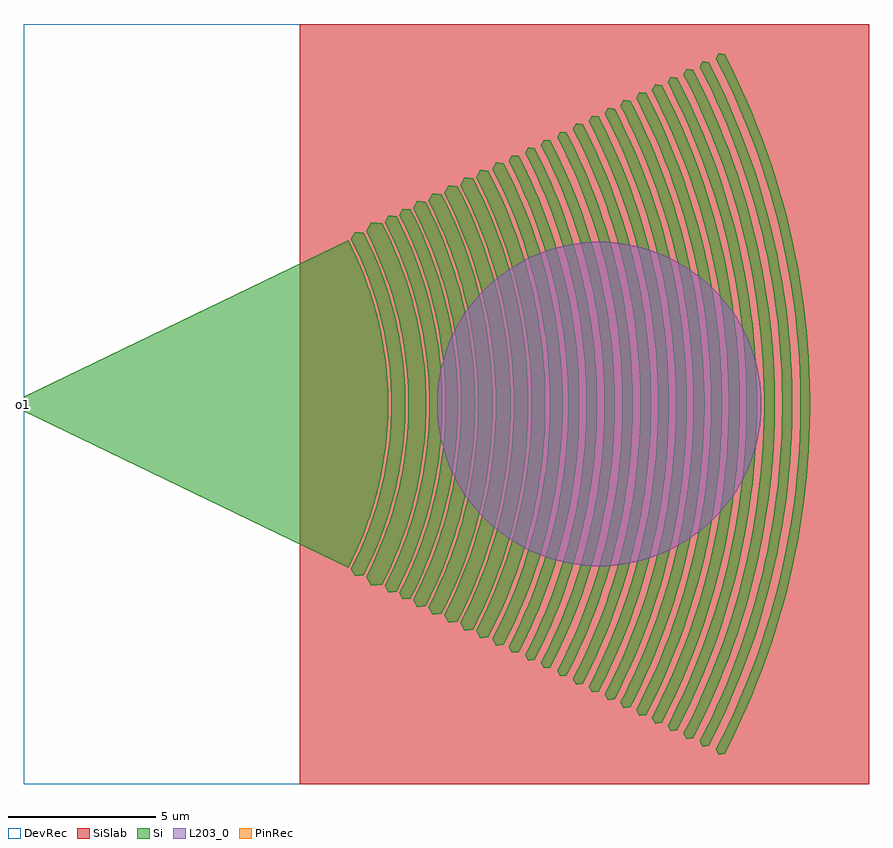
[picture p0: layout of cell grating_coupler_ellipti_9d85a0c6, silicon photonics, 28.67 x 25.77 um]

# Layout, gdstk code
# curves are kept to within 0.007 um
import gdstk
lib = gdstk.Library(unit=1e-6, precision=1e-09)
def R(c, l, rs):  # rectangles x0, y0, x1, y1
    for r in rs: c.add(gdstk.rectangle(r[:2], r[2:], *l))
def P(c, l, *ps):  # polygons
    for p in ps: c.add(gdstk.Polygon(p, *l))
Si = (1, 0)
PinRec = (1, 10)
SiSlab = (2, 0)
DevRec = (68, 0)
L203_0 = (203, 0)

circle_layerte_radius5p5 = lib.new_cell('circle_layerTE_radius5p5')
P(circle_layerte_radius5p5, L203_0, [(5.5,0),(5.495,0.24),(5.453,0.718),(5.37,1.19),(5.245,1.654),(5.081,2.105),(4.879,2.54),(4.639,2.955),(4.505,3.155),(4.213,3.535),(3.889,3.889),(3.535,4.213),(3.155,4.505),(2.955,4.639),(2.54,4.879),(2.105,5.081),(1.654,5.245),(1.19,5.37),(0.718,5.453),(0.24,5.495),(0,5.5),(-0.24,5.495),(-0.718,5.453),(-1.19,5.37),(-1.654,5.245),(-2.105,5.081),(-2.54,4.879),(-2.955,4.639),(-3.155,4.505),(-3.535,4.213),(-3.889,3.889),(-4.213,3.535),(-4.505,3.155),(-4.639,2.955),(-4.879,2.54),(-5.081,2.105),(-5.245,1.654),(-5.37,1.19),(-5.453,0.718),(-5.495,0.24),(-5.5,0),(-5.495,-0.24),(-5.453,-0.718),(-5.37,-1.19),(-5.245,-1.654),(-5.081,-2.105),(-4.879,-2.54),(-4.639,-2.955),(-4.505,-3.155),(-4.213,-3.535),(-3.889,-3.889),(-3.535,-4.213),(-3.155,-4.505),(-2.955,-4.639),(-2.54,-4.879),(-2.105,-5.081),(-1.654,-5.245),(-1.19,-5.37),(-0.718,-5.453),(-0.24,-5.495),(0,-5.5),(0.24,-5.495),(0.718,-5.453),(1.19,-5.37),(1.654,-5.245),(2.105,-5.081),(2.54,-4.879),(2.955,-4.639),(3.155,-4.505),(3.535,-4.213),(3.889,-3.889),(4.213,-3.535),(4.505,-3.155),(4.639,-2.955),(4.879,-2.54),(5.081,-2.105),(5.245,-1.654),(5.37,-1.19),(5.453,-0.718),(5.495,-0.24)])

grating_coupler_ellipti_ = lib.new_cell('grating_coupler_ellipti_9d85a0c6')
P(grating_coupler_ellipti_, Si, [(11.471,-5.847),(11.33,-5.595),(11.609,-5.024),(11.778,-4.636),(11.933,-4.242),(12.074,-3.844),(12.201,-3.441),(12.315,-3.033),(12.413,-2.622),(12.534,-1.999),(12.623,-1.371),(12.677,-0.74),(12.7,-0.106),(12.688,0.528),(12.644,1.161),(12.567,1.791),(12.457,2.415),(12.366,2.828),(12.26,3.237),(12.005,4.044),(11.857,4.44),(11.695,4.83),(11.52,5.214),(11.33,5.595),(11.471,5.847),(11.758,5.813),(11.954,5.422),(12.222,4.82),(12.457,4.204),(12.661,3.577),(12.779,3.153),(12.881,2.726),(12.969,2.295),(13.041,1.861),(13.099,1.425),(13.141,0.988),(13.168,0.55),(13.18,0.11),(13.176,-0.33),(13.157,-0.768),(13.122,-1.207),(13.072,-1.644),(13.008,-2.079),(12.927,-2.511),(12.832,-2.94),(12.722,-3.365),(12.53,-3.996),(12.383,-4.41),(12.135,-5.022),(11.857,-5.619),(11.758,-5.813)],
  [(12.026,-6.168),(11.848,-5.85),(12.046,-5.452),(12.23,-5.05),(12.399,-4.642),(12.554,-4.228),(12.82,-3.385),(12.93,-2.956),(13.026,-2.525),(13.141,-1.872),(13.222,-1.214),(13.268,-0.553),(13.28,-0.11),(13.268,0.553),(13.222,1.214),(13.141,1.872),(13.026,2.525),(12.93,2.956),(12.82,3.385),(12.554,4.228),(12.399,4.642),(12.23,5.05),(12.046,5.452),(11.848,5.85),(12.026,6.168),(12.388,6.126),(12.692,5.504),(12.876,5.079),(13.126,4.43),(13.273,3.991),(13.404,3.547),(13.52,3.098),(13.62,2.645),(13.705,2.19),(13.774,1.733),(13.847,1.04),(13.874,0.579),(13.886,0.116),(13.882,-0.347),(13.862,-0.81),(13.826,-1.272),(13.774,-1.733),(13.705,-2.19),(13.572,-2.873),(13.464,-3.323),(13.34,-3.769),(13.126,-4.43),(12.963,-4.864),(12.692,-5.504),(12.388,-6.126)],
  [(12.611,-6.399),(12.478,-6.163),(12.687,-5.744),(12.881,-5.32),(13.059,-4.89),(13.222,-4.454),(13.369,-4.012),(13.502,-3.566),(13.618,-3.115),(13.72,-2.66),(13.84,-1.972),(13.926,-1.279),(13.974,-0.582),(13.986,-0.116),(13.974,0.582),(13.926,1.279),(13.84,1.972),(13.72,2.66),(13.618,3.115),(13.502,3.566),(13.369,4.012),(13.222,4.454),(13.059,4.89),(12.881,5.32),(12.687,5.744),(12.478,6.163),(12.611,6.399),(12.88,6.367),(13.195,5.721),(13.477,5.056),(13.646,4.604),(13.869,3.918),(13.998,3.453),(14.11,2.986),(14.206,2.514),(14.286,2.038),(14.349,1.562),(14.394,1.083),(14.424,0.602),(14.436,0.12),(14.432,-0.361),(14.412,-0.842),(14.374,-1.321),(14.319,-1.8),(14.248,-2.276),(14.16,-2.75),(14.056,-3.219),(13.936,-3.686),(13.799,-4.148),(13.564,-4.831),(13.293,-5.5),(13.093,-5.938),(12.88,-6.367)],
  [(13.094,-6.629),(12.969,-6.405),(13.186,-5.971),(13.387,-5.53),(13.572,-5.083),(13.742,-4.63),(13.966,-3.94),(14.095,-3.473),(14.209,-3.001),(14.346,-2.289),(14.448,-1.57),(14.511,-0.847),(14.536,-0.121),(14.524,0.604),(14.494,1.088),(14.448,1.57),(14.346,2.289),(14.209,3.001),(14.095,3.473),(13.966,3.94),(13.742,4.63),(13.572,5.083),(13.387,5.53),(13.186,5.971),(12.969,6.405),(13.094,6.629),(13.349,6.599),(13.462,6.379),(13.779,5.7),(13.97,5.239),(14.144,4.772),(14.376,4.06),(14.509,3.579),(14.625,3.095),(14.725,2.605),(14.807,2.113),(14.872,1.618),(14.92,1.122),(14.95,0.624),(14.964,0.125),(14.959,-0.375),(14.937,-0.873),(14.899,-1.37),(14.842,-1.866),(14.768,-2.359),(14.677,-2.851),(14.569,-3.337),(14.444,-3.82),(14.303,-4.299),(14.059,-5.007),(13.779,-5.7),(13.572,-6.155),(13.349,-6.599)],
  [(13.579,-6.887),(13.439,-6.638),(13.664,-6.186),(13.872,-5.73),(14.064,-5.267),(14.24,-4.797),(14.399,-4.322),(14.542,-3.84),(14.724,-3.11),(14.867,-2.371),(14.972,-1.627),(15.037,-0.878),(15.063,-0.125),(15.05,0.627),(14.998,1.377),(14.907,2.124),(14.776,2.866),(14.667,3.354),(14.542,3.84),(14.399,4.322),(14.24,4.797),(14.064,5.267),(13.872,5.73),(13.664,6.186),(13.439,6.638),(13.579,6.887),(13.863,6.854),(13.98,6.624),(14.204,6.157),(14.506,5.441),(14.773,4.711),(14.928,4.217),(15.068,3.717),(15.188,3.214),(15.291,2.705),(15.377,2.194),(15.444,1.681),(15.494,1.165),(15.526,0.647),(15.539,0.129),(15.535,-0.388),(15.513,-0.906),(15.472,-1.423),(15.413,-1.938),(15.337,-2.451),(15.242,-2.96),(15.129,-3.466),(15,-3.968),(14.773,-4.711),(14.6,-5.199),(14.41,-5.682),(14.094,-6.392),(13.863,-6.854)],
  [(14.101,-7.154),(13.953,-6.891),(14.296,-6.188),(14.505,-5.71),(14.695,-5.225),(14.868,-4.734),(15.026,-4.237),(15.164,-3.736),(15.286,-3.229),(15.435,-2.462),(15.544,-1.688),(15.612,-0.911),(15.64,-0.13),(15.626,0.651),(15.572,1.43),(15.476,2.205),(15.34,2.975),(15.227,3.483),(15.098,3.987),(14.949,4.486),(14.784,4.98),(14.602,5.468),(14.402,5.949),(14.187,6.423),(13.953,6.891),(14.101,7.154),(14.401,7.119),(14.522,6.881),(14.864,6.151),(15.07,5.652),(15.346,4.894),(15.508,4.381),(15.652,3.862),(15.778,3.339),(15.884,2.811),(15.974,2.279),(16.044,1.746),(16.096,1.209),(16.128,0.673),(16.142,0.134),(16.137,-0.404),(16.114,-0.941),(16.072,-1.478),(16.011,-2.013),(15.931,-2.546),(15.834,-3.075),(15.717,-3.601),(15.582,-4.121),(15.429,-4.638),(15.167,-5.401),(14.864,-6.151),(14.641,-6.639),(14.401,-7.119)],
  [(14.641,-7.424),(14.491,-7.157),(14.734,-6.671),(14.958,-6.18),(15.165,-5.679),(15.355,-5.173),(15.526,-4.66),(15.679,-4.141),(15.876,-3.354),(16.031,-2.558),(16.144,-1.754),(16.214,-0.946),(16.242,-0.135),(16.238,0.406),(16.214,0.946),(16.144,1.754),(16.031,2.558),(15.876,3.354),(15.679,4.141),(15.526,4.66),(15.355,5.173),(15.165,5.679),(14.958,6.18),(14.734,6.671),(14.491,7.157),(14.641,7.424),(14.945,7.389),(15.071,7.142),(15.312,6.638),(15.639,5.867),(15.926,5.079),(16.094,4.545),(16.243,4.008),(16.374,3.464),(16.485,2.916),(16.577,2.366),(16.65,1.812),(16.703,1.256),(16.738,0.698),(16.752,0.139),(16.748,-0.418),(16.724,-0.978),(16.679,-1.534),(16.616,-2.089),(16.533,-2.642),(16.432,-3.191),(16.311,-3.737),(16.171,-4.277),(15.926,-5.079),(15.74,-5.605),(15.426,-6.382),(15.194,-6.891),(14.945,-7.389)],
  [(15.18,-7.685),(15.035,-7.425),(15.287,-6.922),(15.519,-6.412),(15.734,-5.892),(15.931,-5.367),(16.191,-4.567),(16.341,-4.026),(16.472,-3.48),(16.632,-2.653),(16.75,-1.82),(16.823,-0.982),(16.852,-0.14),(16.847,0.421),(16.823,0.982),(16.75,1.82),(16.632,2.653),(16.472,3.48),(16.341,4.026),(16.191,4.567),(15.931,5.367),(15.734,5.892),(15.519,6.412),(15.287,6.922),(15.035,7.425),(15.18,7.685),(15.475,7.651),(15.606,7.394),(15.973,6.608),(16.194,6.074),(16.397,5.531),(16.665,4.707),(16.819,4.15),(16.954,3.586),(17.07,3.02),(17.165,2.449),(17.24,1.876),(17.296,1.301),(17.331,0.722),(17.346,0.144),(17.341,-0.433),(17.317,-1.012),(17.271,-1.589),(17.205,-2.163),(17.12,-2.735),(17.014,-3.304),(16.889,-3.869),(16.744,-4.429),(16.49,-5.258),(16.297,-5.804),(15.973,-6.608),(15.733,-7.134),(15.475,-7.651)],
  [(15.713,-7.94),(15.573,-7.692),(15.833,-7.17),(16.074,-6.64),(16.296,-6.103),(16.5,-5.559),(16.684,-5.008),(16.85,-4.45),(17.061,-3.605),(17.226,-2.749),(17.347,-1.885),(17.423,-1.017),(17.454,-0.145),(17.439,0.727),(17.378,1.596),(17.272,2.462),(17.176,3.035),(17.061,3.605),(16.85,4.45),(16.684,5.008),(16.5,5.559),(16.296,6.103),(16.074,6.64),(15.833,7.17),(15.573,7.692),(15.713,7.94),(15.995,7.906),(16.261,7.374),(16.625,6.555),(16.844,5.998),(17.044,5.434),(17.306,4.578),(17.455,3.998),(17.585,3.414),(17.694,2.827),(17.783,2.236),(17.85,1.642),(17.897,1.045),(17.928,0.149),(17.923,-0.448),(17.897,-1.045),(17.85,-1.642),(17.783,-2.236),(17.694,-2.827),(17.585,-3.414),(17.455,-3.998),(17.306,-4.578),(17.044,-5.434),(16.844,-5.998),(16.625,-6.555),(16.261,-7.374),(15.995,-7.906)],
  [(16.257,-8.194),(16.129,-7.967),(16.399,-7.427),(16.648,-6.879),(16.879,-6.323),(17.09,-5.758),(17.368,-4.9),(17.529,-4.319),(17.67,-3.733),(17.842,-2.847),(17.968,-1.953),(18.047,-1.053),(18.078,-0.15),(18.063,0.752),(18,1.653),(17.89,2.55),(17.79,3.144),(17.67,3.733),(17.529,4.319),(17.368,4.9),(17.09,5.758),(16.879,6.323),(16.648,6.879),(16.399,7.427),(16.129,7.967),(16.257,8.194),(16.515,8.163),(16.92,7.333),(17.166,6.767),(17.498,5.902),(17.694,5.317),(17.869,4.726),(18.024,4.127),(18.157,3.525),(18.318,2.614),(18.398,2.001),(18.458,1.387),(18.495,0.772),(18.512,0.154),(18.506,-0.463),(18.479,-1.079),(18.43,-1.695),(18.361,-2.308),(18.27,-2.919),(18.157,-3.525),(18.024,-4.127),(17.869,-4.726),(17.694,-5.317),(17.498,-5.902),(17.166,-6.767),(16.92,-7.333),(16.515,-8.163)],
  [(16.793,-8.442),(16.68,-8.239),(16.958,-7.681),(17.217,-7.114),(17.455,-6.538),(17.673,-5.955),(17.87,-5.365),(18.048,-4.767),(18.273,-3.861),(18.451,-2.944),(18.582,-2.019),(18.663,-1.089),(18.696,-0.155),(18.69,0.467),(18.663,1.089),(18.582,2.019),(18.451,2.944),(18.273,3.861),(18.048,4.767),(17.87,5.365),(17.673,5.955),(17.455,6.538),(17.217,7.114),(16.958,7.681),(16.68,8.239),(16.793,8.442),(17.024,8.415),(17.442,7.558),(17.696,6.975),(18.037,6.085),(18.24,5.481),(18.42,4.871),(18.579,4.255),(18.717,3.634),(18.833,3.008),(18.927,2.379),(19.027,1.43),(19.065,0.795),(19.082,0.159),(19.076,-0.477),(19.049,-1.113),(18.966,-2.063),(18.882,-2.695),(18.778,-3.321),(18.651,-3.945),(18.502,-4.563),(18.333,-5.177),(18.141,-5.783),(17.815,-6.68),(17.571,-7.268),(17.308,-7.847),(17.024,-8.415)],
  [(17.342,-8.703),(17.235,-8.515),(17.524,-7.936),(17.79,-7.351),(18.151,-6.456),(18.465,-5.544),(18.649,-4.927),(18.81,-4.304),(19.01,-3.359),(19.161,-2.407),(19.263,-1.447),(19.301,-0.804),(19.318,-0.161),(19.301,0.804),(19.234,1.767),(19.161,2.407),(19.067,3.042),(18.882,3.99),(18.649,4.927),(18.465,5.544),(18.261,6.154),(18.036,6.757),(17.79,7.351),(17.524,7.936),(17.235,8.515),(17.342,8.703),(17.557,8.677),(17.987,7.795),(18.248,7.193),(18.489,6.582),(18.708,5.964),(18.995,5.023),(19.16,4.388),(19.301,3.747),(19.421,3.102),(19.519,2.453),(19.592,1.801),(19.644,1.147),(19.678,0.163),(19.673,-0.492),(19.644,-1.147),(19.592,-1.801),(19.519,-2.453),(19.364,-3.425),(19.234,-4.068),(19.08,-4.706),(18.905,-5.338),(18.708,-5.964),(18.372,-6.889),(18.12,-7.495),(17.848,-8.092),(17.557,-8.677)],
  [(17.879,-8.967),(17.774,-8.78),(18.07,-8.185),(18.345,-7.581),(18.718,-6.658),(19.042,-5.717),(19.231,-5.08),(19.397,-4.438),(19.604,-3.464),(19.76,-2.482),(19.864,-1.492),(19.904,-0.829),(19.921,-0.165),(19.904,0.829),(19.835,1.822),(19.713,2.811),(19.604,3.464),(19.471,4.115),(19.317,4.76),(19.139,5.399),(18.939,6.032),(18.718,6.658),(18.345,7.581),(18.07,8.185),(17.774,8.78),(17.879,8.967),(18.092,8.942),(18.394,8.339),(18.536,8.032),(18.805,7.413),(19.054,6.784),(19.384,5.825),(19.575,5.176),(19.821,4.193),(19.956,3.53),(20.067,2.863),(20.156,2.192),(20.22,1.52),(20.262,0.845),(20.279,0.169),(20.262,-0.845),(20.22,-1.52),(20.156,-2.192),(20.067,-2.863),(19.956,-3.53),(19.821,-4.193),(19.663,-4.85),(19.384,-5.825),(19.169,-6.466),(18.932,-7.099),(18.673,-7.723),(18.394,-8.339),(18.092,-8.942)],
  [(18.43,-9.238),(18.326,-9.053),(18.632,-8.439),(18.915,-7.817),(19.3,-6.865),(19.528,-6.22),(19.734,-5.567),(19.916,-4.908),(20.077,-4.243),(20.272,-3.235),(20.415,-2.219),(20.505,-1.196),(20.54,-0.171),(20.523,0.855),(20.481,1.538),(20.415,2.219),(20.272,3.235),(20.077,4.243),(19.916,4.908),(19.734,5.567),(19.528,6.22),(19.3,6.865),(18.915,7.817),(18.632,8.439),(18.326,9.053),(18.43,9.238),(18.64,9.213),(19.098,8.275),(19.375,7.636),(19.63,6.989),(19.97,6.001),(20.168,5.333),(20.421,4.319),(20.56,3.636),(20.675,2.949),(20.765,2.259),(20.833,1.566),(20.875,0.871),(20.894,0.175),(20.887,-0.523),(20.857,-1.218),(20.802,-1.913),(20.723,-2.605),(20.56,-3.636),(20.421,-4.319),(20.258,-4.996),(19.97,-6.001),(19.749,-6.661),(19.505,-7.314),(19.239,-7.957),(18.95,-8.591),(18.64,-9.213)],
  [(18.97,-9.512),(18.86,-9.317),(19.022,-9.002),(19.325,-8.366),(19.605,-7.721),(19.864,-7.065),(20.099,-6.402),(20.311,-5.73),(20.583,-4.71),(20.803,-3.676),(20.969,-2.634),(21.079,-1.582),(21.122,-0.88),(21.14,-0.176),(21.122,0.88),(21.048,1.933),(20.969,2.634),(20.865,3.329),(20.662,4.367),(20.498,5.051),(20.311,5.73),(20.099,6.402),(19.864,7.065),(19.605,7.721),(19.325,8.366),(19.022,9.002),(18.86,9.317),(18.97,9.512),(19.192,9.487),(19.512,8.846),(19.809,8.193),(20.083,7.53),(20.334,6.859),(20.562,6.179),(20.765,5.49),(21.026,4.447),(21.169,3.744),(21.287,3.038),(21.381,2.326),(21.449,1.612),(21.494,0.896),(21.512,0.18),(21.494,-0.896),(21.449,-1.612),(21.381,-2.326),(21.287,-3.038),(21.169,-3.744),(21.026,-4.447),(20.858,-5.145),(20.667,-5.836),(20.451,-6.52),(20.212,-7.195),(19.809,-8.193),(19.512,-8.846),(19.192,-9.487)],
  [(19.508,-9.78),(19.397,-9.582),(19.72,-8.932),(20.021,-8.274),(20.298,-7.605),(20.552,-6.926),(20.782,-6.239),(20.988,-5.545),(21.251,-4.491),(21.458,-3.425),(21.608,-2.349),(21.647,-1.989),(21.703,-1.266),(21.741,-0.181),(21.722,0.905),(21.647,1.989),(21.565,2.708),(21.458,3.425),(21.251,4.491),(20.988,5.545),(20.782,6.239),(20.552,6.926),(20.298,7.605),(20.021,8.274),(19.72,8.932),(19.397,9.582),(19.508,9.78),(19.733,9.754),(20.218,8.761),(20.65,7.743),(20.908,7.052),(21.142,6.353),(21.352,5.645),(21.536,4.932),(21.696,4.212),(21.888,3.123),(21.984,2.391),(22.054,1.658),(22.1,0.921),(22.119,0.185),(22.113,-0.553),(22.081,-1.29),(22.023,-2.025),(21.939,-2.758),(21.83,-3.487),(21.696,-4.212),(21.447,-5.289),(21.25,-6.001),(21.028,-6.704),(20.65,-7.743),(20.367,-8.424),(20.062,-9.096),(19.733,-9.754)],
  [(20.046,-10.045),(19.935,-9.847),(20.425,-8.843),(20.722,-8.161),(20.994,-7.468),(21.243,-6.766),(21.467,-6.057),(21.756,-4.978),(21.988,-3.886),(22.111,-3.152),(22.208,-2.414),(22.305,-1.301),(22.325,-0.93),(22.344,-0.186),(22.325,0.93),(22.279,1.673),(22.208,2.414),(22.111,3.152),(22.052,3.52),(21.84,4.615),(21.665,5.339),(21.467,6.057),(21.122,7.118),(20.862,7.815),(20.576,8.503),(20.268,9.18),(19.935,9.847),(20.046,10.045),(20.271,10.019),(20.769,8.999),(21.07,8.305),(21.478,7.244),(21.718,6.526),(21.933,5.799),(22.122,5.066),(22.287,4.326),(22.424,3.582),(22.536,2.833),(22.655,1.703),(22.701,0.946),(22.722,0.19),(22.714,-0.568),(22.681,-1.325),(22.622,-2.08),(22.536,-2.833),(22.424,-3.582),(22.287,-4.326),(22.031,-5.433),(21.829,-6.163),(21.478,-7.244),(21.212,-7.953),(20.922,-8.653),(20.608,-9.342),(20.271,-10.019)],
  [(20.579,-10.31),(20.468,-10.111),(20.81,-9.425),(21.126,-8.73),(21.418,-8.024),(21.686,-7.308),(21.811,-6.947),(22.041,-6.218),(22.245,-5.481),(22.424,-4.739),(22.642,-3.614),(22.755,-2.858),(22.801,-2.479),(22.875,-1.718),(22.901,-1.336),(22.941,-0.191),(22.921,0.955),(22.875,1.718),(22.841,2.099),(22.755,2.858),(22.642,3.614),(22.424,4.739),(22.245,5.481),(22.041,6.218),(21.811,6.947),(21.686,7.308),(21.418,8.024),(21.126,8.73),(20.81,9.425),(20.468,10.111),(20.579,10.31),(20.806,10.283),(20.982,9.939),(21.317,9.237),(21.627,8.524),(22.044,7.436),(22.291,6.698),(22.512,5.953),(22.707,5.199),(22.875,4.441),(23.016,3.676),(23.131,2.908),(23.219,2.135),(23.281,1.36),(23.321,0.195),(23.314,-0.583),(23.281,-1.36),(23.179,-2.521),(23.077,-3.292),(22.949,-4.059),(22.794,-4.821),(22.613,-5.577),(22.405,-6.326),(22.044,-7.436),(21.772,-8.164),(21.474,-8.882),(21.152,-9.589),(20.806,-10.283)],
  [(21.113,-10.574),(21.002,-10.374),(21.352,-9.672),(21.678,-8.958),(22.118,-7.868),(22.38,-7.129),(22.616,-6.381),(22.92,-5.245),(23.165,-4.094),(23.349,-2.932),(23.472,-1.763),(23.519,-0.98),(23.54,-0.196),(23.519,0.98),(23.472,1.763),(23.438,2.153),(23.349,2.932),(23.233,3.708),(23.165,4.094),(23.008,4.863),(22.825,5.625),(22.616,6.381),(22.252,7.5),(21.978,8.233),(21.678,8.958),(21.352,9.672),(21.002,10.374),(21.113,10.574),(21.34,10.548),(21.696,9.836),(22.026,9.11),(22.332,8.373),(22.61,7.626),(22.863,6.87),(23.09,6.106),(23.38,4.945),(23.539,4.164),(23.67,3.377),(23.774,2.587),(23.85,1.793),(23.899,0.996),(23.92,0.2),(23.913,-0.598),(23.879,-1.395),(23.774,-2.587),(23.67,-3.377),(23.539,-4.164),(23.38,-4.945),(23.193,-5.721),(22.98,-6.489),(22.74,-7.249),(22.332,-8.373),(22.026,-9.11),(21.696,-9.836),(21.34,-10.548)],
  [(21.647,-10.839),(21.534,-10.638),(21.894,-9.918),(22.064,-9.553),(22.384,-8.816),(22.68,-8.067),(22.947,-7.309),(23.189,-6.542),(23.405,-5.768),(23.502,-5.377),(23.753,-4.198),(23.941,-3.007),(24.032,-2.208),(24.067,-1.807),(24.116,-1.004),(24.138,-0.201),(24.131,0.603),(24.116,1.004),(24.095,1.406),(24.032,2.208),(23.941,3.007),(23.822,3.803),(23.753,4.198),(23.592,4.986),(23.405,5.768),(23.189,6.542),(22.947,7.309),(22.68,8.067),(22.384,8.816),(22.064,9.553),(21.894,9.918),(21.534,10.638),(21.647,10.839),(21.876,10.812),(22.24,10.082),(22.579,9.338),(22.891,8.583),(23.178,7.817),(23.437,7.043),(23.67,6.258),(23.874,5.467),(24.051,4.669),(24.2,3.865),(24.321,3.057),(24.414,2.244),(24.449,1.837),(24.498,1.022),(24.52,0.205),(24.513,-0.613),(24.477,-1.43),(24.414,-2.244),(24.321,-3.057),(24.2,-3.865),(24.129,-4.268),(23.966,-5.068),(23.775,-5.864),(23.557,-6.652),(23.311,-7.431),(23.038,-8.201),(22.579,-9.338),(22.24,-10.082),(21.876,-10.812)],
  [(22.178,-11.094),(22.071,-10.904),(22.439,-10.165),(22.781,-9.414),(23.097,-8.653),(23.243,-8.268),(23.519,-7.491),(23.767,-6.705),(23.881,-6.309),(24.087,-5.511),(24.344,-4.303),(24.48,-3.49),(24.537,-3.081),(24.667,-1.853),(24.716,-1.03),(24.738,-0.206),(24.731,0.618),(24.695,1.441),(24.667,1.853),(24.587,2.672),(24.48,3.49),(24.415,3.897),(24.344,4.303),(24.179,5.111),(24.087,5.511),(23.881,6.309),(23.646,7.099),(23.384,7.881),(23.097,8.653),(22.781,9.414),(22.439,10.165),(22.071,10.904),(22.178,11.094),(22.395,11.068),(22.767,10.321),(23.115,9.56),(23.435,8.787),(23.728,8.003),(23.994,7.209),(24.231,6.407),(24.441,5.597),(24.535,5.189),(24.702,4.369),(24.84,3.544),(24.949,2.714),(25.029,1.881),(25.08,1.046),(25.102,0.21),(25.095,-0.628),(25.059,-1.463),(24.949,-2.714),(24.84,-3.544),(24.702,-4.369),(24.535,-5.189),(24.339,-6.003),(24.115,-6.809),(23.865,-7.607),(23.585,-8.396),(23.435,-8.787),(23.115,-9.56),(22.767,-10.321),(22.395,-11.068)],
  [(22.715,-11.361),(22.607,-11.169),(22.984,-10.412),(23.163,-10.029),(23.499,-9.255),(23.809,-8.47),(24.09,-7.674),(24.345,-6.869),(24.461,-6.463),(24.672,-5.645),(24.855,-4.821),(24.935,-4.407),(25.009,-3.992),(25.134,-3.157),(25.266,-1.898),(25.317,-1.055),(25.339,-0.211),(25.332,0.633),(25.317,1.055),(25.266,1.898),(25.229,2.318),(25.134,3.157),(25.009,3.992),(24.855,4.821),(24.766,5.234),(24.57,6.055),(24.345,6.869),(24.09,7.674),(23.809,8.47),(23.499,9.255),(23.163,10.029),(22.984,10.412),(22.607,11.169),(22.715,11.361),(22.935,11.335),(23.316,10.57),(23.672,9.79),(23.999,8.999),(24.299,8.195),(24.571,7.382),(24.815,6.561),(25.03,5.731),(25.215,4.895),(25.371,4.052),(25.498,3.205),(25.595,2.354),(25.663,1.499),(25.7,0.643),(25.707,0.215),(25.7,-0.643),(25.663,-1.499),(25.595,-2.354),(25.498,-3.205),(25.438,-3.629),(25.297,-4.475),(25.126,-5.314),(24.926,-6.147),(24.697,-6.973),(24.44,-7.79),(24.153,-8.598),(23.999,-8.999),(23.672,-9.79),(23.316,-10.57),(22.935,-11.335)],
  [(23.258,-11.62),(23.157,-11.44),(23.544,-10.665),(23.726,-10.274),(24.071,-9.48),(24.388,-8.676),(24.677,-7.86),(24.937,-7.036),(25.056,-6.62),(25.273,-5.783),(25.37,-5.362),(25.542,-4.515),(25.685,-3.662),(25.798,-2.805),(25.881,-1.944),(25.91,-1.513),(25.933,-1.08),(25.956,-0.216),(25.956,0.216),(25.933,1.08),(25.881,1.944),(25.798,2.805),(25.685,3.662),(25.617,4.089),(25.542,4.515),(25.37,5.362),(25.167,6.203),(24.937,7.036),(24.677,7.86),(24.536,8.27),(24.233,9.079),(23.902,9.878),(23.544,10.665),(23.157,11.44),(23.258,11.62),(23.463,11.596),(23.662,11.207),(24.04,10.416),(24.389,9.612),(24.71,8.796),(25.003,7.97),(25.267,7.134),(25.501,6.289),(25.706,5.436),(25.797,5.007),(25.957,4.145),(26.087,3.279),(26.185,2.407),(26.254,1.533),(26.277,1.096),(26.3,0.22),(26.292,-0.658),(26.254,-1.533),(26.185,-2.407),(26.087,-3.279),(25.957,-4.145),(25.797,-5.007),(25.706,-5.436),(25.501,-6.289),(25.267,-7.134),(25.003,-7.97),(24.71,-8.796),(24.389,-9.612),(24.04,-10.416),(23.662,-11.207),(23.463,-11.596)],
  [(23.805,-11.886),(23.707,-11.713),(24.104,-10.919),(24.47,-10.113),(24.643,-9.706),(24.968,-8.882),(25.119,-8.466),(25.4,-7.626),(25.652,-6.778),(25.873,-5.92),(26.065,-5.056),(26.149,-4.622),(26.226,-4.186),(26.357,-3.31),(26.411,-2.871),(26.496,-1.99),(26.55,-1.107),(26.574,-0.222),(26.566,0.664),(26.527,1.548),(26.496,1.99),(26.411,2.871),(26.357,3.31),(26.226,4.186),(26.065,5.056),(25.972,5.489),(25.873,5.92),(25.652,6.778),(25.4,7.626),(25.263,8.047),(24.968,8.882),(24.643,9.706),(24.47,10.113),(24.104,10.919),(23.707,11.713),(23.805,11.886),(24.003,11.863),(24.402,11.061),(24.592,10.655),(24.949,9.832),(25.278,8.998),(25.577,8.153),(25.847,7.297),(26.086,6.433),(26.296,5.561),(26.475,4.682),(26.623,3.798),(26.685,3.354),(26.787,2.463),(26.826,2.016),(26.88,1.121),(26.904,0.224),(26.896,-0.672),(26.857,-1.568),(26.787,-2.463),(26.685,-3.354),(26.623,-3.798),(26.475,-4.682),(26.296,-5.561),(26.086,-6.433),(25.847,-7.297),(25.577,-8.153),(25.278,-8.998),(24.949,-9.832),(24.592,-10.655),(24.402,-11.061),(24.003,-11.863)],
  [(0.24,0.25),(0.24,-0.25),(11.241,-5.554),(11.56,-4.893),(11.801,-4.311),(12.043,-3.617),(12.243,-2.91),(12.399,-2.192),(12.497,-1.57),(12.571,-0.839),(12.6,-0.105),(12.584,0.63),(12.523,1.362),(12.468,1.778),(12.399,2.192),(12.268,2.808),(12.105,3.416),(11.945,3.916),(11.838,4.213),(11.56,4.893),(11.241,5.554)])
R(grating_coupler_ellipti_, SiSlab, [(9.6,-12.886,28.905,12.886)])
R(grating_coupler_ellipti_, DevRec, [(0.24,-12.886,28.905,12.886)])
grating_coupler_ellipti_.add(gdstk.FlexPath([(0.241,0),(0.239,0)], 0.5, ends="flush", simple_path=True, layer=1, datatype=10))  # PinRec
grating_coupler_ellipti_.add(gdstk.Reference(circle_layerte_radius5p5, (19.752,0)))
grating_coupler_ellipti_.add(gdstk.Label('o1', (0.24,0), layer=1, texttype=10))

lib.write_gds('grating_coupler_ellipti_9d85a0c6.gds')
